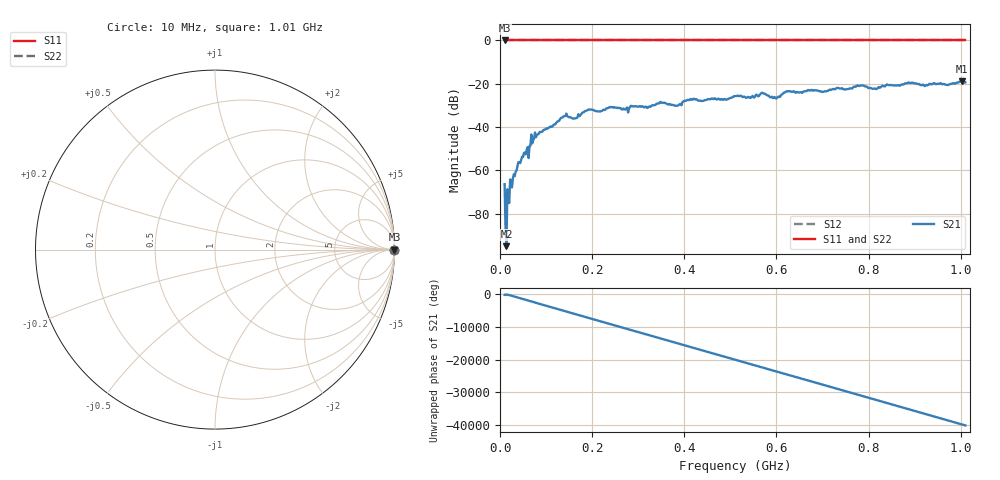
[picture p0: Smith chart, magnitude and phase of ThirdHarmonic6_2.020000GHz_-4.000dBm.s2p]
! 8/17/2025 12:14:45 AM
! C:\ANRITSUVNA\TEMP\TEMP.S2P
! CHANNEL.1
! TR.MEASUREMENT
! RAW.DATA
! RF.CORRECTION.OFF
! AVERAGING.OFF
! IF.BANDWIDTH: 5KHZ
! SWEEPTYPE:  FREQ.SWEEP(Linear)
! Reference Plane Port Info
! PORT:  PORT1  PORT2
! DISTANCE:  0  m  0  m
! TIME:  0  s  0  s
! PHASE.OFFSET:  0  deg.  0  deg.
! LOSS:  0  dB  0  dB
! REF.LOSS:  0  dB  0  dB
! REF.FREQ:  0  Hz  0  Hz
! Power Info
! POWER:  -20  dBm  -20  dBm
! EFF.POWER:  -20  dBm  -20  dBm
! SOURCE.ATTEN:  0  dB  0  dB
! TEST.ATTEN:  0  dB  0  dB
# GHZ S RI R 50.0
! FREQ.GHZ  S11RE  S11IM  S21RE  S21IM  S12RE  S12IM  S22RE  S22IM
!; PortSelection: Port_12
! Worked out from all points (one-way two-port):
!   501 points, 10 MHz to 1.01 GHz, reference 50 ohm
!   highest |S21| = -18.94 dB at 1.002 GHz (marker M1); lowest = -95.1 dB at 14 MHz (marker M2)
!   lowest |S11| = 0.0 dB at 10 MHz (marker M3)
!   |S11| at or under -10 dB: nowhere
!   |S22| runs from 0.0 to 0.0 dB; largest |S21 - S12| = 1.1
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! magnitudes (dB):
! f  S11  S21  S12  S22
! 10 MHz  0.0  -66.4  0.0  0.0
! 14 MHz  0.0  -95.1  0.0  0.0
! 16 MHz  0.0  -68.8  0.0  0.0
! 20 MHz  0.0  -75.1  0.0  0.0
! 38 MHz  0.0  -58.0  0.0  0.0
! 60 MHz  0.0  -49.3  0.0  0.0
! 72 MHz  0.0  -46.1  0.0  0.0
! 140 MHz  0.0  -35.0  0.0  0.0
! 162 MHz  0.0  -36.0  0.0  0.0
! 178 MHz  0.0  -33.6  0.0  0.0
! 344 MHz  0.0  -29.2  0.0  0.0
! 384 MHz  0.0  -30.2  0.0  0.0
! 410 MHz  0.0  -27.6  0.0  0.0
! 510 MHz  0.0  -25.7  0.0  0.0
! 570 MHz  0.0  -24.2  0.0  0.0
! 596 MHz  0.0  -26.1  0.0  0.0
! 624 MHz  0.0  -23.4  0.0  0.0
! 678 MHz  0.0  -23.0  0.0  0.0
! 814 MHz  0.0  -22.2  0.0  0.0
! 844 MHz  0.0  -20.7  0.0  0.0
! 1.002 GHz  0.0  -18.9  0.0  0.0
! 1.01 GHz  0.0  -19.4  0.0  0.0
